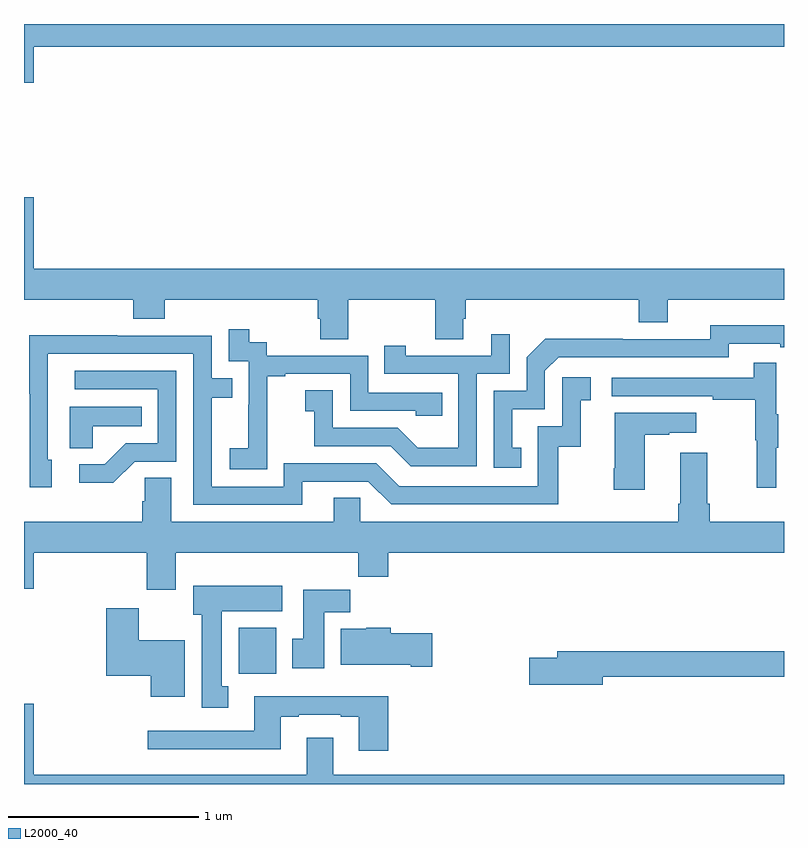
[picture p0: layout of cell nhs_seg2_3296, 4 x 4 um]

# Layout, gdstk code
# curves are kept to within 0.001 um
import gdstk
lib = gdstk.Library(unit=1e-6, precision=1e-09)
def R(c, l, rs):  # rectangles x0, y0, x1, y1
    for r in rs: c.add(gdstk.rectangle(r[:2], r[2:], *l))
def P(c, l, *ps):  # polygons
    for p in ps: c.add(gdstk.Polygon(p, *l))
L2000_40 = (2000, 40)

nhs_seg2_3296 = lib.new_cell('nhs_seg2_3296')
R(nhs_seg2_3296, L2000_40, [(286.13,600.38,286.327,600.622)])
P(nhs_seg2_3296, L2000_40, [(285.052,603.68),(289,603.68),(289,603.8),(285,603.8),(285,603.492),(285.052,603.492)],
  [(286.707,602.348),(287.164,602.348),(287.164,602.14),(287.311,602.14),(287.311,602.25),(287.324,602.25),(287.324,602.348),(288.236,602.348),(288.236,602.231),(288.388,602.231),(288.388,602.348),(289,602.348),(289,602.512),(285.052,602.512),(285.052,602.887),(285,602.887),(285,602.348),(285.575,602.348),(285.575,602.249),(285.74,602.249),(285.74,602.348),(286.547,602.348),(286.547,602.25),(286.559,602.25),(286.559,602.14),(286.707,602.14)],
  [(287.618,601.569),(287.569,601.569),(287.569,601.773),(287.742,601.773),(287.742,601.974),(287.814,602.046),(288.708,602.046),(288.708,602.118),(288.98,602.118),(288.98,602.098),(289,602.098),(289,602.214),(288.612,602.215),(288.612,602.142),(288.152,602.142),(288.152,602.144),(287.744,602.144),(287.646,602.046),(287.646,601.869),(287.472,601.869),(287.472,601.464),(287.618,601.464)],
  [(286.281,601.663),(286.28,601.663),(286.28,601.947),(286.375,601.947),(286.375,601.959),(286.716,601.959),(286.716,601.764),(287.061,601.764),(287.061,601.737),(287.201,601.737),(287.201,601.86),(286.812,601.86),(286.812,602.055),(286.278,602.055),(286.278,602.124),(286.186,602.124),(286.186,602.194),(286.077,602.194),(286.077,602.025),(286.182,602.025),(286.182,601.796),(286.181,601.796),(286.181,601.567),(286.083,601.567),(286.083,601.457),(286.281,601.457)],
  [(287.382,601.959),(287.556,601.959),(287.556,602.167),(287.459,602.167),(287.459,602.055),(287.008,602.055),(287.008,602.107),(286.897,602.107),(286.897,601.959),(287.286,601.959),(287.286,601.57),(287.072,601.57),(286.968,601.674),(286.626,601.674),(286.626,601.873),(286.479,601.873),(286.479,601.763),(286.528,601.763),(286.528,601.578),(286.931,601.578),(287.036,601.473),(287.382,601.473)],
  [(286.465,601.392),(286.812,601.392),(286.932,601.272),(287.812,601.272),(287.812,601.575),(287.93,601.575),(287.93,601.821),(287.983,601.821),(287.983,601.942),(287.832,601.942),(287.832,601.683),(287.703,601.683),(287.703,601.368),(286.974,601.368),(286.854,601.488),(286.368,601.488),(286.368,601.365),(285.987,601.365),(285.987,601.834),(286.097,601.834),(286.097,601.935),(285.987,601.935),(285.987,602.16),(285.491,602.16),(285.491,602.162),(285.028,602.162),(285.028,601.855),(285.03,601.855),(285.03,601.362),(285.145,601.362),(285.145,601.506),(285.126,601.506),(285.126,602.064),(285.891,602.064),(285.891,601.269),(286.465,601.269)],
  [(288.959,601.571),(288.97,601.571),(288.97,601.745),(288.959,601.745),(288.959,602.017),(288.841,602.017),(288.841,601.938),(288.093,601.938),(288.093,601.842),(288.625,601.842),(288.625,601.822),(288.849,601.822),(288.849,601.608),(288.856,601.608),(288.856,601.359),(288.959,601.359)],
  [(285.582,601.497),(285.801,601.497),(285.801,601.974),(285.267,601.974),(285.267,601.878),(285.705,601.878),(285.705,601.593),(285.536,601.593),(285.425,601.482),(285.291,601.482),(285.291,601.385),(285.469,601.385)],
  [(285.363,601.682),(285.62,601.682),(285.62,601.786),(285.242,601.786),(285.242,601.567),(285.363,601.567)],
  [(288.268,601.639),(288.395,601.639),(288.395,601.649),(288.538,601.649),(288.538,601.753),(288.11,601.753),(288.11,601.462),(288.103,601.462),(288.103,601.35),(288.268,601.35)],
  [(285.799,601.016),(286.759,601.016),(286.759,600.892),(286.916,600.892),(286.916,601.016),(289,601.016),(289,601.18),(288.608,601.18),(288.608,601.276),(288.595,601.276),(288.595,601.543),(288.455,601.543),(288.455,601.276),(288.443,601.276),(288.443,601.18),(286.77,601.18),(286.77,601.307),(286.631,601.307),(286.631,601.18),(285.775,601.18),(285.775,601.412),(285.636,601.412),(285.636,601.289),(285.623,601.289),(285.623,601.18),(285,601.18),(285,600.828),(285.052,600.828),(285.052,601.016),(285.647,601.016),(285.647,600.822),(285.799,600.822)],
  [(286.075,600.314),(286.042,600.314),(286.042,600.71),(286.36,600.71),(286.36,600.844),(285.89,600.844),(285.89,600.69),(285.935,600.69),(285.935,600.201),(286.075,600.201)],
  [(286.579,600.704),(286.718,600.704),(286.718,600.823),(286.469,600.823),(286.469,600.564),(286.412,600.564),(286.412,600.408),(286.579,600.408)],
  [(285.847,600.556),(285.604,600.556),(285.604,600.724),(285.434,600.724),(285.434,600.371),(285.668,600.371),(285.668,600.26),(285.847,600.26)],
  [(287.149,600.594),(286.931,600.594),(286.931,600.622),(286.8,600.622),(286.8,600.616),(286.667,600.616),(286.667,600.428),(287.036,600.428),(287.036,600.416),(287.149,600.416)],
  [(288.046,600.364),(289,600.364),(289,600.5),(287.807,600.5),(287.807,600.464),(287.658,600.464),(287.658,600.322),(288.046,600.322)],
  [(286.916,600.262),(286.211,600.262),(286.211,600.081),(285.651,600.081),(285.651,599.984),(286.351,599.984),(286.351,600.153),(286.447,600.153),(286.447,600.165),(286.667,600.165),(286.667,600.153),(286.763,600.153),(286.763,599.976),(286.916,599.976)],
  [(289,599.848),(286.627,599.848),(286.627,600.043),(286.487,600.043),(286.487,599.848),(285.052,599.848),(285.052,600.223),(285,600.223),(285,599.8),(289,599.8)])

lib.write_gds('nhs_seg2_3296.gds')
